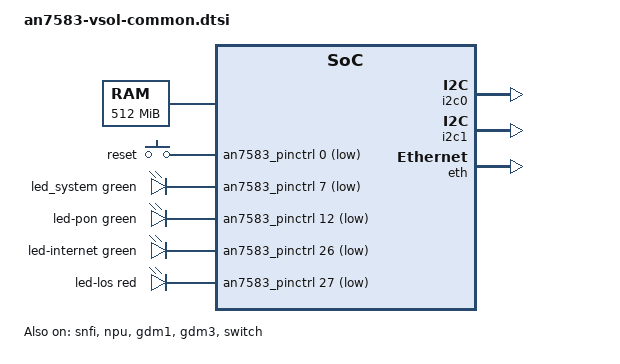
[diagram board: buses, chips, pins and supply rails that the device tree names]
// SPDX-License-Identifier: GPL-2.0-or-later OR MIT
/dts-v1/;

#include <dt-bindings/leds/common.h>
#include <dt-bindings/gpio/gpio.h>
#include <dt-bindings/input/input.h>
#include "an7583.dtsi"

/ {
	aliases {
		led-boot = &led_system;
		led-failsafe = &led_system;
		led-running = &led_system;
		led-upgrade = &led_system;
		serial0 = &uart1;
	};

	chosen {
		bootargs = "console=ttyS0,115200 earlycon ubi.mtd=tclinux,0,0,0 ubi.mtd=rootfs_data,0,0,1 root=/dev/fit0 rootwait";
		rootdisk = <&tclinux_fit>;
		rootdisk-slave = <&tclinux_slave_fit>;
		stdout-path = "serial0:115200n8";
	};

	memory@80000000 {
		device_type = "memory";
		reg = <0x0 0x80000000 0x0 0x20000000>;
	};

	gpio-keys-polled {
		compatible = "gpio-keys-polled";
		poll-interval = <100>;

		btn-reset {
			label = "reset";
			linux,code = <KEY_RESTART>;
			gpios = <&an7583_pinctrl 0 GPIO_ACTIVE_LOW>;
		};
	};

	leds {
		compatible = "gpio-leds";

		led_system: led-system {
			color = <LED_COLOR_ID_GREEN>;
			function = LED_FUNCTION_POWER;
			gpios = <&an7583_pinctrl 7 GPIO_ACTIVE_LOW>;
		};

		led-pon {
			color = <LED_COLOR_ID_GREEN>;
			function = "pon";
			gpios = <&an7583_pinctrl 12 GPIO_ACTIVE_LOW>;
		};

		led-internet {
			color = <LED_COLOR_ID_GREEN>;
			function = LED_FUNCTION_WAN;
			gpios = <&an7583_pinctrl 26 GPIO_ACTIVE_LOW>;
		};

		led-los {
			color = <LED_COLOR_ID_RED>;
			function = "los";
			gpios = <&an7583_pinctrl 27 GPIO_ACTIVE_LOW>;
		};
	};
};

&an7583_pinctrl {
	gpio-ranges = <&an7583_pinctrl 0 2 53>;

	mdio0_pins: mdio0-pins {
		mux {
			function = "mdio";
			groups = "mdio";
		};

		conf {
			pins = "mdio_0";
			output-high;
		};
	};

	spi_pins: spi-pins {
		mux {
			function = "spi";
			groups = "spi";
		};
	};

	pcie0_rst_pins: pcie0-rst-pins {
		conf {
			pins = "pcie_reset0";
			drive-open-drain = <1>;
		};
	};

	pcie1_rst_pins: pcie1-rst-pins {
		conf {
			pins = "pcie_reset1";
			drive-open-drain = <1>;
		};
	};

	gswp1_led0_pins: gswp1-led0-pins {
		mux {
			function = "phy1_led0";
			pins = "gpio1";
		};
	};
};

&snfi {
	pinctrl-names = "default";
	pinctrl-0 = <&spi_pins>;
	status = "okay";
};

&spi_nand {
	/*
	 * The auto adaption of 64M/128M/256M nand flash like stock rom is not implemented.
	 * 64M: 21m[tclinux],21m[tclinux_slave],4m[rootfs_data],4m[framework],4m[framework_slave]
	 * 256M: 64m[tclinux],64m[tclinux_slave],25m[rootfs_data],30m[framework],30m[framework_slave]
	 */

	partitions {
		compatible = "fixed-partitions";
		#address-cells = <1>;
		#size-cells = <1>;

		bootloader@0 {
			label = "bootloader";
			reg = <0x00000000 0x00080000>;
		};

		tclinux@80000 {
			label = "tclinux";
			reg = <0x00080000 0x02000000>;

			volumes {
				tclinux_fit: ubi-volume-fit {
					volname = "fit";
				};
			};
		};

		tclinux_slave@2080000 {
			label = "tclinux_slave";
			reg = <0x02080000 0x02000000>;

			volumes {
				tclinux_slave_fit: ubi-volume-fit {
					volname = "fit";
				};
			};
		};

		rootfs_data@4080000 {
			label = "rootfs_data";
			reg = <0x04080000 0x02800000>;
		};

		factory@6880000 {
			label = "factory";
			reg = <0x06880000 0x00100000>;
		};

		art@6c80000 {
			label = "art";
			reg = <0x06c80000 0x00380000>;
		};
	};
};

&i2c0 {
	status = "okay";
};

&i2c1 {
	status = "okay";
};

&npu {
	status = "okay";
};

&eth {
	status = "okay";
};

&gdm1 {
	status = "okay";
};

&gdm3 {
	status = "okay";
};

&switch {
	status = "okay";
};
